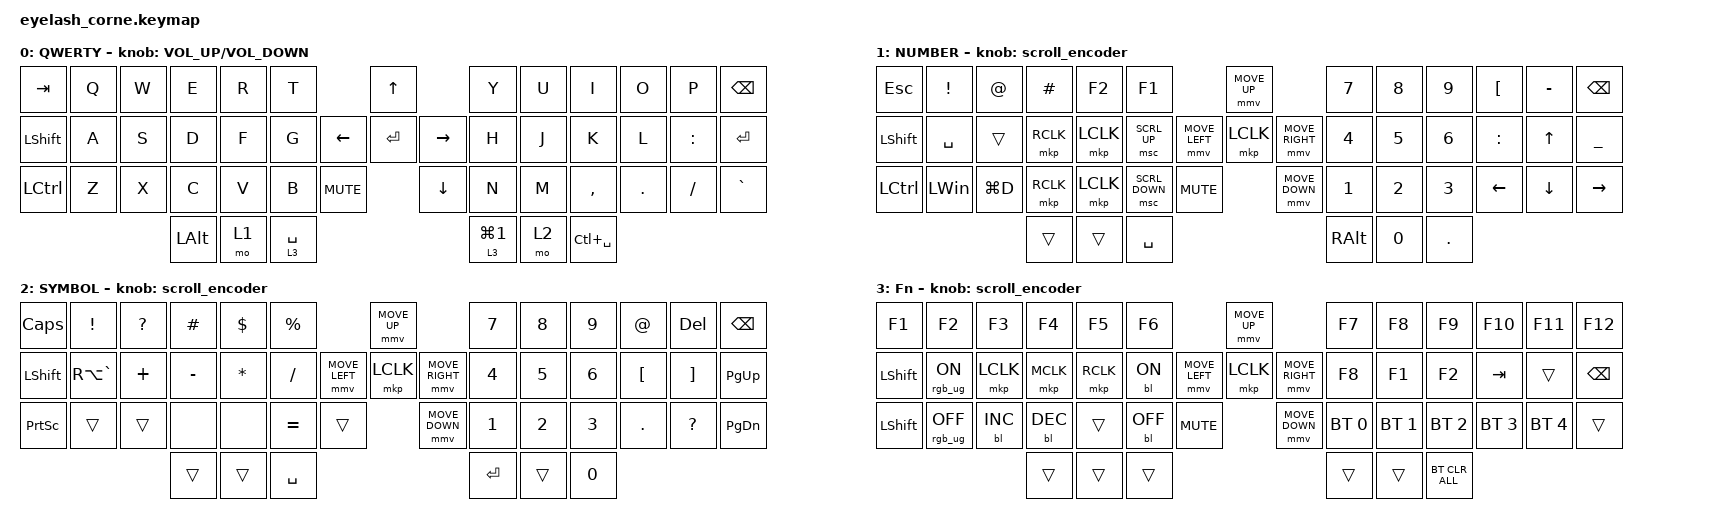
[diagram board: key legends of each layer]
#define ZMK_POINTING_DEFAULT_MOVE_VAL 1200  // 600
#define ZMK_POINTING_DEFAULT_SCRL_VAL 25   // 10

#include <input/processors.dtsi>
#include <zephyr/dt-bindings/input/input-event-codes.h>
#include <behaviors.dtsi>
#include <dt-bindings/zmk/backlight.h>
#include <dt-bindings/zmk/bt.h>
#include <dt-bindings/zmk/keys.h>
#include <dt-bindings/zmk/pointing.h>
#include <dt-bindings/zmk/rgb.h>

&mmv_input_listener { input-processors = <&zip_xy_scaler 2 1>; };

&msc_input_listener { input-processors = <&zip_scroll_scaler 2 1>; };

&msc {
    acceleration-exponent = <1>;      // 0
    time-to-max-speed-ms = <100>;       // 300
    delay-ms = <0>;                   // 0
};

&mmv {
    time-to-max-speed-ms = <500>;
    acceleration-exponent = <1>;
    trigger-period-ms = <16>;
};

/ {
    behaviors {
        td0: td0 {
            compatible = "zmk,behavior-tap-dance";
            display-name = "Shift/Caps Lock Tap Dance";
            #binding-cells = <0>;
            bindings = <&kp LEFT_SHIFT>, <&kp CAPS>;
        };
    };

    rgb_encoder: rgb_encoder {
        compatible = "zmk,behavior-sensor-rotate";
        #sensor-binding-cells = <0>;
        bindings = <&rgb_ug RGB_BRI>, <&rgb_ug RGB_BRD>;
    };

    scroll_encoder: scroll_encoder {
        compatible = "zmk,behavior-sensor-rotate";
        #sensor-binding-cells = <0>;
        bindings = <&msc SCRL_DOWN>, <&msc SCRL_UP>;

        tap-ms = <100>;
    };

    combos {
        compatible = "zmk,combos";

        spacecombo {
            bindings = <&kp SPACE>;
            key-positions = <14 15>;
        };

        Nshortcut {
            bindings = <&kp N>;
            key-positions = <18 16>;
        };

        RightClick {
            bindings = <&mkp LCLK>;
            key-positions = <23 24>;
        };

        UPscroll {
            bindings = <&msc SCRL_UP>;
            key-positions = <22 23>;
        };

        Downscroll {
            bindings = <&msc SCRL_DOWN>;
            key-positions = <36 37>;
        };

        rightcrick {
            bindings = <&mkp RCLK>;
            key-positions = <24 25>;
        };

        F1press {
            bindings = <&kp F1>;
            key-positions = <15 17>;
        };

        F2press {
            bindings = <&kp F2>;
            key-positions = <15 32>;
        };
    };

    keymap {
        compatible = "zmk,keymap";

        default_layer {
            display-name = "QWERTY";
            bindings = <
&kp TAB         &kp Q  &kp W  &kp E         &kp R  &kp T                                &kp UP                &kp Y         &kp U  &kp I          &kp O    &kp P      &kp BSPC
&kp LEFT_SHIFT  &kp A  &kp S  &kp D         &kp F  &kp G                      &kp LEFT  &kp ENTER  &kp RIGHT  &kp H         &kp J  &kp K          &kp L    &kp COLON  &kp ENTER
&kp LCTRL       &kp Z  &kp X  &kp C         &kp V  &kp B        &kp C_MUTE              &kp DOWN              &kp N         &kp M  &kp COMMA      &kp DOT  &kp FSLH   &kp GRAVE
                              &kp LEFT_ALT  &mo 1  &lt 3 SPACE                                                &lt 3 LG(N1)  &mo 2  &kp LC(SPACE)
            >;

            sensor-bindings = <&inc_dec_kp C_VOLUME_UP C_VOLUME_DOWN>;
        };

        lower_layer {
            display-name = "NUMBER";
            bindings = <
&kp ESCAPE      &kp EXCLAMATION  &kp AT_SIGN  &kp HASH   &kp F2     &kp F1                                        &mmv MOVE_UP                     &kp N7         &kp N8        &kp N9        &kp LBKT        &kp MINUS       &kp BSPC
&kp LEFT_SHIFT  &kp SPACE        &trans       &mkp RCLK  &mkp LCLK  &msc SCRL_UP                  &mmv MOVE_LEFT  &mkp LCLK       &mmv MOVE_RIGHT  &kp NUMBER_4   &kp N5        &kp NUMBER_6  &kp COLON       &kp UP_ARROW    &kp UNDER
&kp LCTRL       &kp LEFT_WIN     &kp LG(D)    &mkp RCLK  &mkp LCLK  &msc SCRL_DOWN  &kp C_MUTE                    &mmv MOVE_DOWN                   &kp NUMBER_1   &kp NUMBER_2  &kp NUMBER_3  &kp LEFT_ARROW  &kp DOWN_ARROW  &kp RIGHT
                                              &trans     &trans     &kp SPACE                                                                      &kp RIGHT_ALT  &kp N0        &kp PERIOD
            >;

            sensor-bindings = <&scroll_encoder>;
        };

        raise_layer {
            display-name = "SYMBOL";
            bindings = <
&kp CAPSLOCK     &kp EXCL       &kp QUESTION  &kp HASH   &kp DLLR      &kp PRCNT                            &mmv MOVE_UP                     &kp N7        &kp N8        &kp N9        &kp AT_SIGN       &kp DEL            &kp BSPC
&kp LEFT_SHIFT   &kp RA(GRAVE)  &kp PLUS      &kp MINUS  &kp ASTERISK  &kp SLASH            &mmv MOVE_LEFT  &mkp LCLK       &mmv MOVE_RIGHT  &kp NUMBER_4  &kp N5        &kp NUMBER_6  &kp LEFT_BRACKET  &kp RIGHT_BRACKET  &kp PAGE_UP
&kp PRINTSCREEN  &trans         &trans        &none      &none         &kp EQUAL  &trans                    &mmv MOVE_DOWN                   &kp NUMBER_1  &kp NUMBER_2  &kp NUMBER_3  &kp PERIOD        &kp QUESTION       &kp PAGE_DOWN
                                              &trans     &trans        &kp SPACE                                                             &kp RET       &trans        &kp N0
            >;

            sensor-bindings = <&scroll_encoder>;
        };

        layer_3 {
            display-name = "Fn";
            bindings = <
&kp F1          &kp F2           &kp F3      &kp F4      &kp F5     &kp F6                                    &mmv MOVE_UP                     &kp F7        &kp F8        &kp F9          &kp F10       &kp F11       &kp F12
&kp LEFT_SHIFT  &rgb_ug RGB_ON   &mkp LCLK   &mkp MCLK   &mkp RCLK  &bl BL_ON                 &mmv MOVE_LEFT  &mkp LCLK       &mmv MOVE_RIGHT  &kp F8        &kp F1        &kp F2          &kp TAB       &trans        &kp BACKSPACE
&kp LEFT_SHIFT  &rgb_ug RGB_OFF  &bl BL_INC  &bl BL_DEC  &trans     &bl BL_OFF  &kp C_MUTE                    &mmv MOVE_DOWN                   &bt BT_SEL 0  &bt BT_SEL 1  &bt BT_SEL 2    &bt BT_SEL 3  &bt BT_SEL 4  &trans
                                             &trans      &trans     &trans                                                                     &trans        &trans        &bt BT_CLR_ALL
            >;

            sensor-bindings = <&scroll_encoder>;
        };
    };
};
